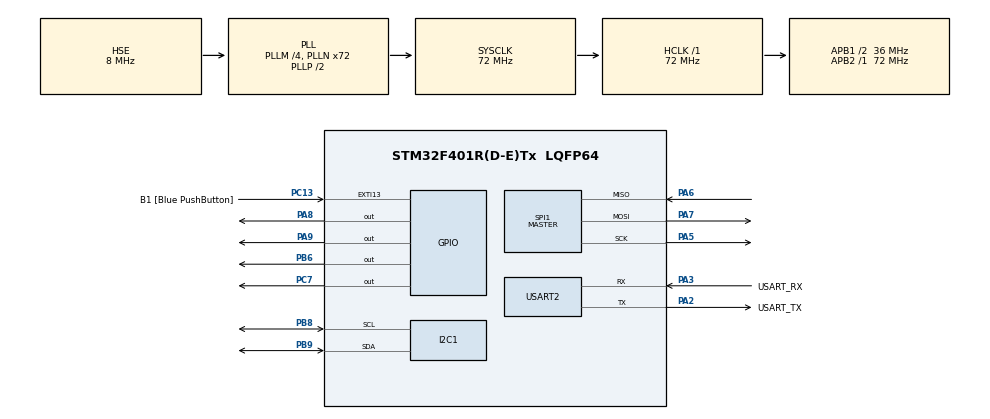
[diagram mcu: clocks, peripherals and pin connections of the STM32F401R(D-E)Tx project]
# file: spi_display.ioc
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Mcu.Family=STM32F4
Mcu.Name=STM32F401R(D-E)Tx
Mcu.Package=LQFP64
NVIC.PriorityGroup=NVIC_PRIORITYGROUP_0
PA13.GPIO_Label=TMS
PA13.Mode=Serial_Wire
PA13.Signal=SYS_JTMS-SWDIO
PA14.GPIO_Label=TCK
PA14.Mode=Serial_Wire
PA14.Signal=SYS_JTCK-SWCLK
PA2.GPIO_Label=USART_TX
PA2.GPIO_Mode=GPIO_MODE_AF_PP
PA2.GPIO_PuPd=GPIO_NOPULL
PA2.GPIO_Speed=GPIO_SPEED_FREQ_LOW
PA2.Mode=Asynchronous
PA2.Signal=USART2_TX
PA3.GPIO_Label=USART_RX
PA3.GPIO_Mode=GPIO_MODE_AF_PP
PA3.GPIO_PuPd=GPIO_NOPULL
PA3.GPIO_Speed=GPIO_SPEED_FREQ_LOW
PA3.Mode=Asynchronous
PA3.Signal=USART2_RX
PA5.Mode=Full_Duplex_Master
PA5.Signal=SPI1_SCK
PA6.Mode=Full_Duplex_Master
PA6.Signal=SPI1_MISO
PA7.Mode=Full_Duplex_Master
PA7.Signal=SPI1_MOSI
PA8.Signal=GPIO_Output
PA9.Signal=GPIO_Output
PB3.GPIO_Label=SWO
PB3.Signal=SYS_JTDO-SWO
PB6.Signal=GPIO_Output
PB8.Mode=I2C
PB8.Signal=I2C1_SCL
PB9.Mode=I2C
PB9.Signal=I2C1_SDA
PC13-ANTI_TAMP.GPIO_Label=B1 [Blue PushButton]
PC13-ANTI_TAMP.GPIO_ModeDefaultEXTI=GPIO_MODE_IT_FALLING
PC13-ANTI_TAMP.GPIO_PuPd=GPIO_NOPULL
PC13-ANTI_TAMP.Signal=GPXTI13
PC14-OSC32_IN.Signal=RCC_OSC32_IN
PC15-OSC32_OUT.Signal=RCC_OSC32_OUT
PC7.Signal=GPIO_Output
PH0\ -\ OSC_IN.Mode=HSE-External-Oscillator
PH0\ -\ OSC_IN.Signal=RCC_OSC_IN
PH1\ -\ OSC_OUT.Mode=HSE-External-Oscillator
PH1\ -\ OSC_OUT.Signal=RCC_OSC_OUT
ProjectManager.HeapSize=0x200
ProjectManager.StackSize=0x400
ProjectManager.TargetToolchain=STM32CubeIDE
RCC.48MHZClocksFreq_Value=20571428.57142857
RCC.AHBFreq_Value=72000000
RCC.APB1CLKDivider=RCC_HCLK_DIV2
RCC.APB1Freq_Value=36000000
RCC.APB1TimFreq_Value=72000000
RCC.APB2Freq_Value=72000000
RCC.APB2TimFreq_Value=72000000
RCC.CortexFreq_Value=72000000
RCC.HCLKFreq_Value=72000000
RCC.HSE_VALUE=8000000
RCC.HSI_VALUE=16000000
RCC.PLLM=4
RCC.PLLN=72
RCC.PLLQ=7
RCC.PLLSourceVirtual=RCC_PLLSOURCE_HSE
RCC.SYSCLKFreq_VALUE=72000000
RCC.SYSCLKSource=RCC_SYSCLKSOURCE_PLLCLK
RCC.VCOOutputFreq_Value=144000000
SPI1.BaudRatePrescaler=SPI_BAUDRATEPRESCALER_64
SPI1.Direction=SPI_DIRECTION_2LINES
SPI1.Mode=SPI_MODE_MASTER
SPI1.VirtualType=VM_MASTER
USART2.VirtualMode=VM_ASYNC
board=NUCLEO-F401RE

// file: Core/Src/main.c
/* USER CODE BEGIN Header */
/**
  ******************************************************************************
  * @file           : main.c
  * @brief          : Main program body
  ******************************************************************************
  * @attention
  *
  * <h2><center>&copy; Copyright (c) 2020 STMicroelectronics.
  * All rights reserved.</center></h2>
  *
  * This software component is licensed by ST under BSD 3-Clause license,
  * the "License"; You may not use this file except in compliance with the
  * License. You may obtain a copy of the License at:
  *                        opensource.org/licenses/BSD-3-Clause
  *
  ******************************************************************************
  */
/* USER CODE END Header */
#include "main.h"

/* USER CODE BEGIN Includes */
#include <string.h>
#include <stdio.h>
#include "ST7735.h"
#include "GFX_FUNCTIONS.h"
/* USER CODE END Includes */

I2C_HandleTypeDef hi2c1;

SPI_HandleTypeDef hspi1;

UART_HandleTypeDef huart2;

/* USER CODE BEGIN PV */
static const uint8_t TMP102_ADDR = 0x48 << 1; // Use 8-bit address
static const uint8_t REG_TEMP = 0x00;
/* USER CODE END PV */

void SystemClock_Config(void);
static void MX_GPIO_Init(void);
static void MX_USART2_UART_Init(void);
static void MX_SPI1_Init(void);
static void MX_I2C1_Init(void);

int main(void)
{

  /* USER CODE BEGIN 1 */
	HAL_StatusTypeDef ret;
	  uint8_t buf[16];
	  int16_t val;
	  float temp_c;
	  char console[64];
	  float tmp;

  /* USER CODE END 1 */

  /* MCU Configuration--------------------------------------------------------*/

  /* Reset of all peripherals, Initializes the Flash interface and the Systick. */
  HAL_Init();

  /* Configure the system clock */
  SystemClock_Config();

  /* Initialize all configured peripherals */
  MX_GPIO_Init();
  MX_USART2_UART_Init();
  MX_SPI1_Init();
  MX_I2C1_Init();
  /* USER CODE BEGIN 2 */

  ST7735_Init(0);
  fillScreen(BLACK);
//  testAll();

  /* USER CODE END 2 */

  /* Infinite loop */
  /* USER CODE BEGIN WHILE */
  while (1)
  {
	  buf[0] = REG_TEMP;
	 	      ret = HAL_I2C_Master_Transmit(&hi2c1, TMP102_ADDR, buf, 1, HAL_MAX_DELAY);
	 	      if ( ret != HAL_OK ) {
	 	        strcpy((char*)buf, "Error Tx\r\n");
	 	      } else {

	 	        // Read 2 bytes from the temperature register
	 	        ret = HAL_I2C_Master_Receive(&hi2c1, TMP102_ADDR, buf, 2, HAL_MAX_DELAY);
	 	        if ( ret != HAL_OK ) {
	 	          strcpy((char*)buf, "Error Rx\r\n");
	 	        } else {

	 	          //Combine the bytes
	 	          val = ((int16_t)buf[0] << 4) | (buf[1] >> 4);

	 	          // Convert to 2's complement, since temperature can be negative
	 	          if ( val > 0x7FF ) {
	 	            val |= 0xF000;
	 	          }

	 	          // Convert to float temperature value (Celsius)
	 	          temp_c = val * 0.0625;
	 	          tmp = temp_c;

	 	          // Convert temperature to decimal format
	 	          temp_c *= 100;
	 	          sprintf((char*)buf,
	 	                "%u.%u C",
	 	                ((unsigned int)temp_c / 100),
	 	                ((unsigned int)temp_c % 100));

	 	          sprintf(console,
	 	          	                "%u.%u C\r\n",
	 	          	                ((unsigned int)temp_c / 100),
	 	          	                ((unsigned int)temp_c % 100));

	 	        }
	 	      }
	 	     fillScreen(BLACK);
//	 	     ST7735_SetRotation(1);
	 	     ST7735_WriteString(0, 0+10, "Current Temperature", Font_7x10, RED, BLACK);
	 	     ST7735_WriteString(0, 4*10, (char*)buf, Font_7x10, GREEN, BLACK);
	 	     HAL_UART_Transmit(&huart2, (uint8_t *)console, strlen(console), HAL_MAX_DELAY);
	 	     if (tmp >= 30.0) {
	 	    	HAL_GPIO_WritePin(GPIOA, GPIO_PIN_8, GPIO_PIN_RESET);
	 	     }else{
	 	    	HAL_GPIO_WritePin(GPIOA, GPIO_PIN_8, GPIO_PIN_SET);
	 	     }

	 	     HAL_Delay(3000);
    /* USER CODE END WHILE */

  }
}

void SystemClock_Config(void)
{
  RCC_OscInitTypeDef RCC_OscInitStruct = {0};
  RCC_ClkInitTypeDef RCC_ClkInitStruct = {0};

  /** Configure the main internal regulator output voltage
  */
  __HAL_RCC_PWR_CLK_ENABLE();
  __HAL_PWR_VOLTAGESCALING_CONFIG(PWR_REGULATOR_VOLTAGE_SCALE2);

  /** Initializes the RCC Oscillators according to the specified parameters
  * in the RCC_OscInitTypeDef structure.
  */
  RCC_OscInitStruct.OscillatorType = RCC_OSCILLATORTYPE_HSE;
  RCC_OscInitStruct.HSEState = RCC_HSE_ON;
  RCC_OscInitStruct.PLL.PLLState = RCC_PLL_ON;
  RCC_OscInitStruct.PLL.PLLSource = RCC_PLLSOURCE_HSE;
  RCC_OscInitStruct.PLL.PLLM = 4;
  RCC_OscInitStruct.PLL.PLLN = 72;
  RCC_OscInitStruct.PLL.PLLP = RCC_PLLP_DIV2;
  RCC_OscInitStruct.PLL.PLLQ = 7;
  if (HAL_RCC_OscConfig(&RCC_OscInitStruct) != HAL_OK)
  {
    Error_Handler();
  }

  /** Initializes the CPU, AHB and APB buses clocks
  */
  RCC_ClkInitStruct.ClockType = RCC_CLOCKTYPE_HCLK|RCC_CLOCKTYPE_SYSCLK
                              |RCC_CLOCKTYPE_PCLK1|RCC_CLOCKTYPE_PCLK2;
  RCC_ClkInitStruct.SYSCLKSource = RCC_SYSCLKSOURCE_PLLCLK;
  RCC_ClkInitStruct.AHBCLKDivider = RCC_SYSCLK_DIV1;
  RCC_ClkInitStruct.APB1CLKDivider = RCC_HCLK_DIV2;
  RCC_ClkInitStruct.APB2CLKDivider = RCC_HCLK_DIV1;

  if (HAL_RCC_ClockConfig(&RCC_ClkInitStruct, FLASH_LATENCY_2) != HAL_OK)
  {
    Error_Handler();
  }
}

static void MX_I2C1_Init(void)
{

  hi2c1.Instance = I2C1;
  hi2c1.Init.ClockSpeed = 100000;
  hi2c1.Init.DutyCycle = I2C_DUTYCYCLE_2;
  hi2c1.Init.OwnAddress1 = 0;
  hi2c1.Init.AddressingMode = I2C_ADDRESSINGMODE_7BIT;
  hi2c1.Init.DualAddressMode = I2C_DUALADDRESS_DISABLE;
  hi2c1.Init.OwnAddress2 = 0;
  hi2c1.Init.GeneralCallMode = I2C_GENERALCALL_DISABLE;
  hi2c1.Init.NoStretchMode = I2C_NOSTRETCH_DISABLE;
  if (HAL_I2C_Init(&hi2c1) != HAL_OK)
  {
    Error_Handler();
  }

}

static void MX_SPI1_Init(void)
{

  /* SPI1 parameter configuration*/
  hspi1.Instance = SPI1;
  hspi1.Init.Mode = SPI_MODE_MASTER;
  hspi1.Init.Direction = SPI_DIRECTION_2LINES;
  hspi1.Init.DataSize = SPI_DATASIZE_8BIT;
  hspi1.Init.CLKPolarity = SPI_POLARITY_LOW;
  hspi1.Init.CLKPhase = SPI_PHASE_1EDGE;
  hspi1.Init.NSS = SPI_NSS_SOFT;
  hspi1.Init.BaudRatePrescaler = SPI_BAUDRATEPRESCALER_64;
  hspi1.Init.FirstBit = SPI_FIRSTBIT_MSB;
  hspi1.Init.TIMode = SPI_TIMODE_DISABLE;
  hspi1.Init.CRCCalculation = SPI_CRCCALCULATION_DISABLE;
  hspi1.Init.CRCPolynomial = 10;
  if (HAL_SPI_Init(&hspi1) != HAL_OK)
  {
    Error_Handler();
  }

}

static void MX_USART2_UART_Init(void)
{

  huart2.Instance = USART2;
  huart2.Init.BaudRate = 115200;
  huart2.Init.WordLength = UART_WORDLENGTH_8B;
  huart2.Init.StopBits = UART_STOPBITS_1;
  huart2.Init.Parity = UART_PARITY_NONE;
  huart2.Init.Mode = UART_MODE_TX_RX;
  huart2.Init.HwFlowCtl = UART_HWCONTROL_NONE;
  huart2.Init.OverSampling = UART_OVERSAMPLING_16;
  if (HAL_UART_Init(&huart2) != HAL_OK)
  {
    Error_Handler();
  }

}

static void MX_GPIO_Init(void)
{
  GPIO_InitTypeDef GPIO_InitStruct = {0};

  /* GPIO Ports Clock Enable */
  __HAL_RCC_GPIOC_CLK_ENABLE();
  __HAL_RCC_GPIOH_CLK_ENABLE();
  __HAL_RCC_GPIOA_CLK_ENABLE();
  __HAL_RCC_GPIOB_CLK_ENABLE();

  /*Configure GPIO pin Output Level */
  HAL_GPIO_WritePin(GPIOC, GPIO_PIN_7, GPIO_PIN_RESET);

  /*Configure GPIO pin Output Level */
  HAL_GPIO_WritePin(GPIOA, GPIO_PIN_8|GPIO_PIN_9, GPIO_PIN_RESET);

  /*Configure GPIO pin Output Level */
  HAL_GPIO_WritePin(GPIOB, GPIO_PIN_6, GPIO_PIN_RESET);

  /*Configure GPIO pin : B1_Pin */
  GPIO_InitStruct.Pin = B1_Pin;
  GPIO_InitStruct.Mode = GPIO_MODE_IT_FALLING;
  GPIO_InitStruct.Pull = GPIO_NOPULL;
  HAL_GPIO_Init(B1_GPIO_Port, &GPIO_InitStruct);

  /*Configure GPIO pin : PC7 */
  GPIO_InitStruct.Pin = GPIO_PIN_7;
  GPIO_InitStruct.Mode = GPIO_MODE_OUTPUT_PP;
  GPIO_InitStruct.Pull = GPIO_NOPULL;
  GPIO_InitStruct.Speed = GPIO_SPEED_FREQ_LOW;
  HAL_GPIO_Init(GPIOC, &GPIO_InitStruct);

  /*Configure GPIO pins : PA8 PA9 */
  GPIO_InitStruct.Pin = GPIO_PIN_8|GPIO_PIN_9;
  GPIO_InitStruct.Mode = GPIO_MODE_OUTPUT_PP;
  GPIO_InitStruct.Pull = GPIO_NOPULL;
  GPIO_InitStruct.Speed = GPIO_SPEED_FREQ_LOW;
  HAL_GPIO_Init(GPIOA, &GPIO_InitStruct);

  /*Configure GPIO pin : PB6 */
  GPIO_InitStruct.Pin = GPIO_PIN_6;
  GPIO_InitStruct.Mode = GPIO_MODE_OUTPUT_PP;
  GPIO_InitStruct.Pull = GPIO_NOPULL;
  GPIO_InitStruct.Speed = GPIO_SPEED_FREQ_LOW;
  HAL_GPIO_Init(GPIOB, &GPIO_InitStruct);

}

void Error_Handler(void)
{
}
